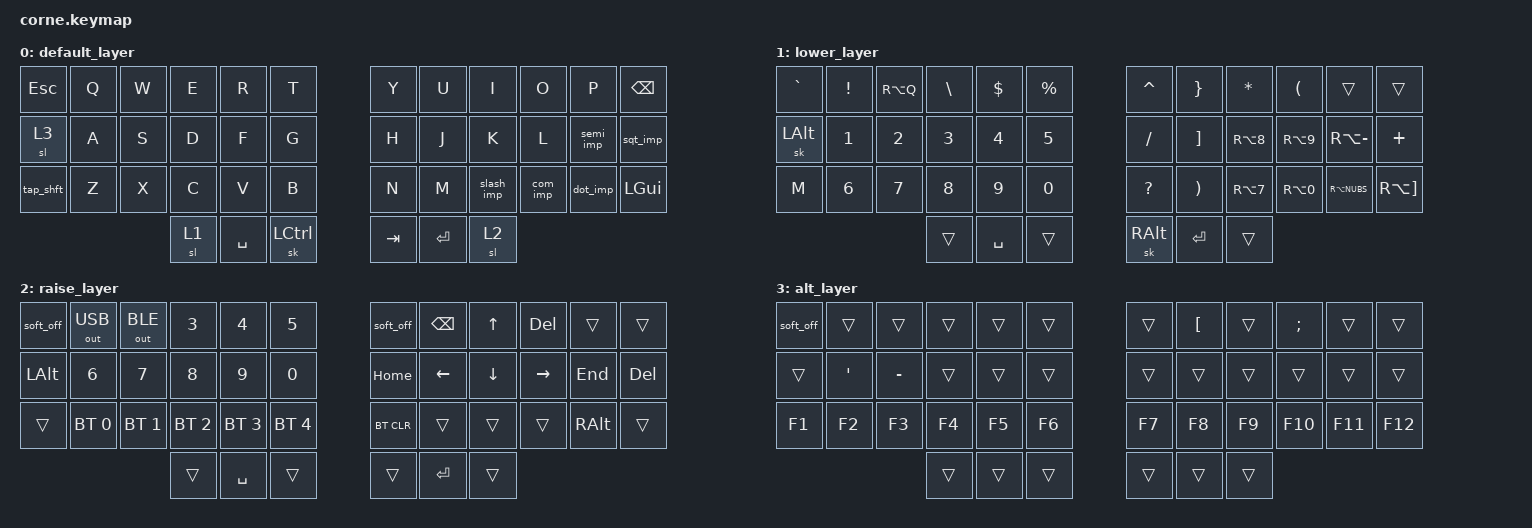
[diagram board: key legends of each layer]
/*                                                                                                                                                                        /*
 * Copyright (c) 2020 The ZMK Contributors
 *
 * SPDX-License-Identifier: MIT
 */


#include <behaviors.dtsi>
#include <dt-bindings/zmk/keys.h>
#include <dt-bindings/zmk/bt.h>
#include <dt-bindings/zmk/outputs.h>

&led_strip {
    chain-length = <6>;
};

    &soft_off {
        hold-time-ms = <5000>; // Only turn off it the key is held for 5 seconds or longer.
};

/ {
    macros {
        ZMK_MACRO(mcr_AEc,
            wait-ms = <30>;
            tap-ms = <30>;
            bindings
                = <&macro_press   &kp LALT>
                , <&macro_tap     &kp KP_N0 &kp KP_N1 &kp KP_N9 &kp KP_N6>
                , <&macro_release &kp LALT>
                ;
        )

        ZMK_MACRO(mcr_OEc,
            wait-ms = <30>;
            tap-ms = <30>;
            bindings
                = <&macro_press   &kp LALT>
                , <&macro_tap     &kp KP_N0 &kp KP_N2 &kp KP_N1 &kp KP_N4>
                , <&macro_release &kp LALT>
                ;
        )

        ZMK_MACRO(mcr_UEc,
            wait-ms = <30>;
            tap-ms = <30>;
            bindings
                = <&macro_press   &kp LALT>
                , <&macro_tap     &kp KP_N0 &kp KP_N2 &kp KP_N2 &kp KP_N0>
                , <&macro_release &kp LALT>
                ;
        )

        ZMK_MACRO(mcr_ss,
            wait-ms = <30>;
            tap-ms = <30>;
            bindings
                = <&macro_press   &kp LALT>
                , <&macro_tap     &kp KP_N0 &kp KP_N2 &kp KP_N2 &kp KP_N3>
                , <&macro_release &kp LALT>
                ;
        )

        ZMK_MACRO(mcr_ae,
            wait-ms = <30>;
            tap-ms = <30>;
            bindings
                = <&macro_press   &kp LALT>
                , <&macro_tap     &kp KP_N0 &kp KP_N2 &kp KP_N2 &kp KP_N8>
                , <&macro_release &kp LALT>
                ;
        )

        ZMK_MACRO(mcr_oe,
            wait-ms = <30>;
            tap-ms = <30>;
            bindings
                = <&macro_press   &kp LALT>
                , <&macro_tap     &kp KP_N0 &kp KP_N2 &kp KP_N4 &kp KP_N6>
                , <&macro_release &kp LALT>
                ;
        )

        ZMK_MACRO(mcr_ue,
            wait-ms = <30>;
            tap-ms = <30>;
            bindings
                = <&macro_press   &kp LALT>
                , <&macro_tap     &kp KP_N0 &kp KP_N2 &kp KP_N5 &kp KP_N2>
                , <&macro_release &kp LALT>
                ;
        )
    };

     behaviors {
            td_shftl: tap_dance_shiftlock {
                compatible = "zmk,behavior-tap-dance";
                #binding-cells = <0>;
                tapping-term-ms = <160>;
                bindings = <&sk LSHIFT>, <&kp CAPSLOCK>;
            };
            td_i: tap_dance_up {
                compatible = "zmk,behavior-tap-dance";
                #binding-cells = <0>;
                tapping-term-ms = <160>;
                bindings = <&kp I>, <&kp I>, <&kp UP>;
            };
            td_j: tap_dance_left {
                compatible = "zmk,behavior-tap-dance";
                #binding-cells = <0>;
                tapping-term-ms = <160>;
                bindings = <&kp J>, <&kp J>, <&kp LEFT>;
            };
            td_l: tap_dance_right {
                compatible = "zmk,behavior-tap-dance";
                #binding-cells = <0>;
                tapping-term-ms = <160>;
                bindings = <&kp L>, <&kp L>, <&kp RIGHT>;
            };
            td_k: tap_dance_down {
                compatible = "zmk,behavior-tap-dance";
                #binding-cells = <0>;
                tapping-term-ms = <160>;
                bindings = <&kp K>, <&kp K>, <&kp DOWN>;
            };

            mod_AE: mod_AE {
                compatible = "zmk,behavior-mod-morph";
                #binding-cells = <0>;
                bindings = <&mcr_ae>, <&mcr_AEc>;
                mods = <MOD_LSFT>;
            };

            mod_OE: mod_OE {
                compatible = "zmk,behavior-mod-morph";
                #binding-cells = <0>;
                bindings = <&mcr_oe>, <&mcr_OEc>;
                mods = <MOD_LSFT>;
            };

            mod_UE: mod_UE {
                compatible = "zmk,behavior-mod-morph";
                #binding-cells = <0>;
                bindings = <&mcr_ue>, <&mcr_UEc>;
                mods = <MOD_LSFT>;
            };

            tap_shft: shift_tap {
            compatible = "zmk,behavior-tap-dance";
            #binding-cells = <0>;
            tapping-term-ms = <180>;
            bindings = <&sk LSHFT>, <&kp CAPS>;
            };

            slash_imp: slash_impostor {
            compatible = "zmk,behavior-mod-morph";
            #binding-cells = <0>;
            bindings = <&kp AMPS>, <&kp UNDER>;
            mods = <(MOD_LSFT|MOD_RSFT)>;
            };

            dot_imp: dot_impostor {
            compatible = "zmk,behavior-mod-morph";
            #binding-cells = <0>;
            bindings = <&kp DOT>, <&kp NUBS>;
            mods = <(MOD_LSFT|MOD_RSFT)>;
            keep-mods = <(MOD_LSFT)>;
            };

            com_imp: comma_impostor {
            compatible = "zmk,behavior-mod-morph";
            #binding-cells = <0>;
            bindings = <&kp COMMA>, <&kp NUBS>;
            mods = <(MOD_LSFT|MOD_RSFT)>;
            };

            semi_imp: semicolon_impostor {
            compatible = "zmk,behavior-mod-morph";
            #binding-cells = <0>;
            bindings = <&kp LT>, <&kp GT>;
            mods = <(MOD_LSFT|MOD_RSFT)>;
            };

            sqt_imp: sqt_impostor {
            compatible = "zmk,behavior-mod-morph";
            #binding-cells = <0>;
            bindings = <&kp PIPE>, <&kp AT>;
            mods = <(MOD_LSFT|MOD_RSFT)>;
            };

        };
        keymap {
                compatible = "zmk,keymap";

                default_layer {
// -----------------------------------------------------------------------------------------
// |  ESC |  Q  |  W  |  E  |  R  |  T  |   |  Y  |  U   |  I  |  O  |  P  | BKSP |
// | L3   |  A  |  S  |  D  |  F  |  G  |   |  H  |  J   |  K  |  L  |  ;  |  '   |
// | CTRK |  Z  |  X  |  C  |  V  |  B  |   |  N  |  M   |  ,  |  .  |  /  | LGUI |
//                    |  L1 | SPC | SHFT|   | TAB | ENT  | L2 |
                        bindings = <
   &kp ESC   &kp Q &kp W &kp E     &kp R &kp T             &kp Y      &kp U   &kp I       &kp O     &kp P     &kp BSPC
   &sl 3     &kp A &kp S &kp D     &kp F &kp G             &kp H      &kp J   &kp K       &kp L     &semi_imp &sqt_imp
   &tap_shft &kp Z &kp X &kp C     &kp V &kp B             &kp N      &kp M   &slash_imp  &com_imp  &dot_imp  &kp LGUI
                   &sl 1 &kp SPACE &sk LCTRL               &kp TAB    &kp RET &sl 2
                        >;
                };
                lower_layer {
// -----------------------------------------------------------------------------------------
// |  ^  |  !  |  @  |  #  |  $  |  %  |   |  &  |  *  |  (  |  )  |     |      |
// | ALT |  1  |  2  |  3  |  4  |  5  |   |  -  |  +  |  [  |  ]  |  \  |  `   |
// |  M  | 6   | 7   | 8   |   9 |   0 |   |  _  |  =  |  {  |  }  | "|" |  ~   |
//                   |     |     |     |   | ALTR|     |     |
                        bindings = <
   &kp GRAVE &kp EXCL &kp RA(Q) &kp BSLH  &kp DLLR  &kp PRCNT   &kp CARET &kp RBRC  &kp ASTRK &kp LPAR    &trans        &trans
   &sk LALT  &kp N1   &kp N2    &kp N3    &kp N4    &kp N5      &kp SLASH &kp RBKT  &kp RA(N8) &kp RA(N9) &kp RA(MINUS) &kp PLUS
   &kp M     &kp N6   &kp N7    &kp N8    &kp N9    &kp N0      &kp QMARK &kp RPAR  &kp RA(N7) &kp RA(N0) &kp RA(NUBS)  &kp RA(RBKT)
                                &trans    &kp SPACE &trans      &sk RALT  &kp RET   &trans
                        >;
                };

                raise_layer {
// -----------------------------------------------------------------------------------------
// |  OFF | ousb| oble|     |     |     |       |OFF  | BSPC| UP  | DEL |     |      |
// |      |     |     |     |     |     |       | HOME|  LFT| DWN |  RGT|  END| DEL  |
// |      | BT1 | BT2 | BT3 |  BT4| BT5 |       |BTCLR|     |     |     | RALT|      |      
//                    |     |     |     |       |     |     |     |
                        bindings = <
   &soft_off    &out OUT_USB &out OUT_BLE &kp N3       &kp N4        &kp N5          &soft_off   &kp BSPC &kp UP    &kp DEL   &trans    &trans
   &kp LALT     &kp N6       &kp N7       &kp N8       &kp N9        &kp N0          &kp HOME    &kp LEFT &kp DOWN  &kp RIGHT &kp END   &kp DEL
   &trans       &bt BT_SEL 0 &bt BT_SEL 1 &bt BT_SEL 2 &bt BT_SEL 3  &bt BT_SEL 4    &bt BT_CLR  &trans   &trans    &trans    &kp RALT  &trans
                                          &trans       &kp SPACE     &trans          &trans      &kp RET  &trans
                        >;
                };
    
                alt_layer {
// -----------------------------------------------------------------------------------------
// | OFF |     |     |     |     |     |   |     |  ue |     | oe  |     |      |
// |     |   ae|  ss |     |     |     |   |     |     |     |     |     |      |
// |  F1 | F2  | F3  | F4  | F5  | F6  |   | F7  | F8  | F9  | F10 | F11 |  F12 |
//                   |     |     |     |   |     |     |     |
                        bindings = <
   &soft_off &trans   &trans    &trans    &trans    &trans      &trans &kp LBKT &trans  &kp SEMI &trans  &trans
   &trans    &kp SQT  &kp MINUS &trans    &trans    &trans      &trans &trans   &trans  &trans   &trans  &trans
   &kp F1    &kp F2   &kp F3    &kp F4    &kp F5    &kp F6      &kp F7 &kp F8   &kp F9  &kp F10  &kp F11 &kp F12
                             &trans    &trans    &trans      &trans &trans   &trans
                        >;
                };
        };
};


